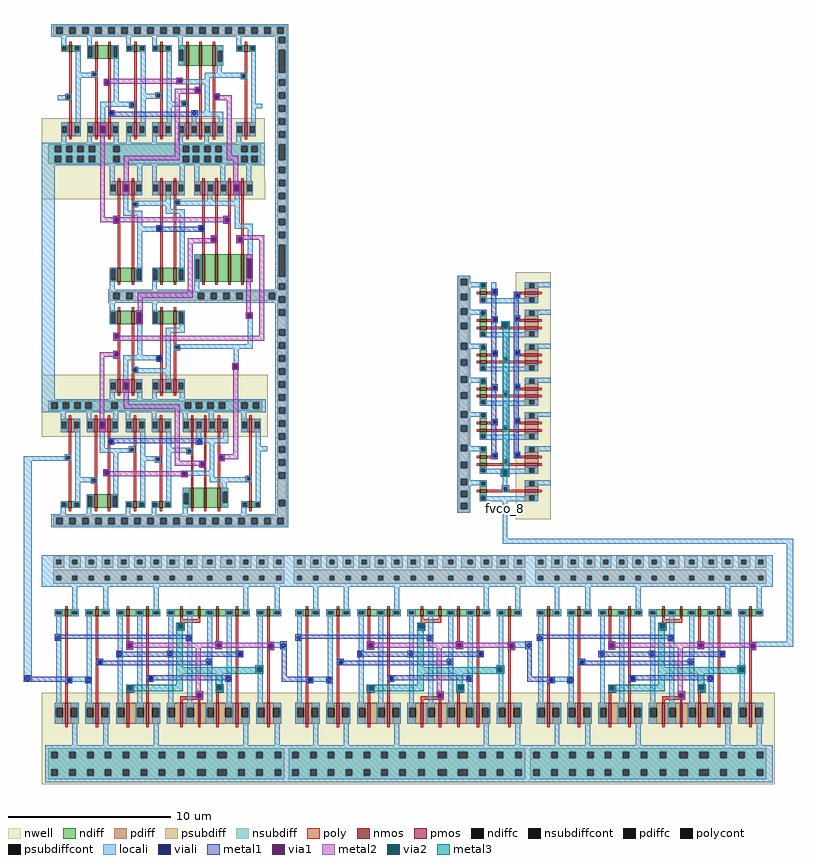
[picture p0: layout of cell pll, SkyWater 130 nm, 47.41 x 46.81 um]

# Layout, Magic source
magic
tech sky130A
<< psubdiff >>
rect 70 1382 140 1402
rect 70 1352 90 1382
rect 120 1352 140 1382
rect 70 1332 140 1352
rect 170 1382 240 1402
rect 170 1352 190 1382
rect 220 1352 240 1382
rect 170 1332 240 1352
rect 270 1382 340 1402
rect 270 1352 290 1382
rect 320 1352 340 1382
rect 270 1332 340 1352
rect 370 1382 440 1402
rect 370 1352 390 1382
rect 420 1352 440 1382
rect 370 1332 440 1352
rect 470 1382 540 1402
rect 470 1352 490 1382
rect 520 1352 540 1382
rect 470 1332 540 1352
rect 570 1382 640 1402
rect 570 1352 590 1382
rect 620 1352 640 1382
rect 570 1332 640 1352
rect 670 1382 740 1402
rect 670 1352 690 1382
rect 720 1352 740 1382
rect 670 1332 740 1352
rect 770 1382 848 1402
rect 770 1352 790 1382
rect 820 1352 848 1382
rect 770 1332 848 1352
rect 878 1382 958 1402
rect 878 1352 898 1382
rect 928 1352 958 1382
rect 878 1332 958 1352
rect 988 1382 1071 1402
rect 988 1352 1021 1382
rect 1051 1352 1071 1382
rect 988 1332 1071 1352
rect 1101 1382 1191 1402
rect 1101 1352 1141 1382
rect 1171 1352 1191 1382
rect 1101 1332 1191 1352
rect 1221 1382 1291 1402
rect 1221 1352 1241 1382
rect 1271 1352 1291 1382
rect 1221 1332 1291 1352
rect 1321 1382 1395 1402
rect 1321 1352 1341 1382
rect 1371 1352 1395 1382
rect 1321 1332 1395 1352
rect 1425 1382 1495 1402
rect 1425 1352 1445 1382
rect 1475 1352 1495 1382
rect 1425 1332 1495 1352
rect 1553 1382 1623 1402
rect 1553 1352 1573 1382
rect 1603 1352 1623 1382
rect 1553 1332 1623 1352
rect 1653 1382 1723 1402
rect 1653 1352 1673 1382
rect 1703 1352 1723 1382
rect 1653 1332 1723 1352
rect 1753 1382 1823 1402
rect 1753 1352 1773 1382
rect 1803 1352 1823 1382
rect 1753 1332 1823 1352
rect 1853 1382 1923 1402
rect 1853 1352 1873 1382
rect 1903 1352 1923 1382
rect 1853 1332 1923 1352
rect 1953 1382 2023 1402
rect 1953 1352 1973 1382
rect 2003 1352 2023 1382
rect 1953 1332 2023 1352
rect 2053 1382 2123 1402
rect 2053 1352 2073 1382
rect 2103 1352 2123 1382
rect 2053 1332 2123 1352
rect 2153 1382 2223 1402
rect 2153 1352 2173 1382
rect 2203 1352 2223 1382
rect 2153 1332 2223 1352
rect 2253 1382 2331 1402
rect 2253 1352 2273 1382
rect 2303 1352 2331 1382
rect 2253 1332 2331 1352
rect 2361 1382 2441 1402
rect 2361 1352 2381 1382
rect 2411 1352 2441 1382
rect 2361 1332 2441 1352
rect 2471 1382 2554 1402
rect 2471 1352 2504 1382
rect 2534 1352 2554 1382
rect 2471 1332 2554 1352
rect 2584 1382 2674 1402
rect 2584 1352 2624 1382
rect 2654 1352 2674 1382
rect 2584 1332 2674 1352
rect 2704 1382 2774 1402
rect 2704 1352 2724 1382
rect 2754 1352 2774 1382
rect 2704 1332 2774 1352
rect 2804 1382 2878 1402
rect 2804 1352 2824 1382
rect 2854 1352 2878 1382
rect 2804 1332 2878 1352
rect 2908 1382 2978 1402
rect 2908 1352 2928 1382
rect 2958 1352 2978 1382
rect 2908 1332 2978 1352
rect 3039 1382 3109 1402
rect 3039 1352 3059 1382
rect 3089 1352 3109 1382
rect 3039 1332 3109 1352
rect 3139 1382 3209 1402
rect 3139 1352 3159 1382
rect 3189 1352 3209 1382
rect 3139 1332 3209 1352
rect 3239 1382 3309 1402
rect 3239 1352 3259 1382
rect 3289 1352 3309 1382
rect 3239 1332 3309 1352
rect 3339 1382 3409 1402
rect 3339 1352 3359 1382
rect 3389 1352 3409 1382
rect 3339 1332 3409 1352
rect 3439 1382 3509 1402
rect 3439 1352 3459 1382
rect 3489 1352 3509 1382
rect 3439 1332 3509 1352
rect 3539 1382 3609 1402
rect 3539 1352 3559 1382
rect 3589 1352 3609 1382
rect 3539 1332 3609 1352
rect 3639 1382 3709 1402
rect 3639 1352 3659 1382
rect 3689 1352 3709 1382
rect 3639 1332 3709 1352
rect 3739 1382 3817 1402
rect 3739 1352 3759 1382
rect 3789 1352 3817 1382
rect 3739 1332 3817 1352
rect 3847 1382 3927 1402
rect 3847 1352 3867 1382
rect 3897 1352 3927 1382
rect 3847 1332 3927 1352
rect 3957 1382 4040 1402
rect 3957 1352 3990 1382
rect 4020 1352 4040 1382
rect 3957 1332 4040 1352
rect 4070 1382 4160 1402
rect 4070 1352 4110 1382
rect 4140 1352 4160 1382
rect 4070 1332 4160 1352
rect 4190 1382 4260 1402
rect 4190 1352 4210 1382
rect 4240 1352 4260 1382
rect 4190 1332 4260 1352
rect 4290 1382 4364 1402
rect 4290 1352 4310 1382
rect 4340 1352 4364 1382
rect 4290 1332 4364 1352
rect 4394 1382 4464 1402
rect 4394 1352 4414 1382
rect 4444 1352 4464 1382
rect 4394 1332 4464 1352
<< psubdiffcont >>
rect 90 1352 120 1382
rect 190 1352 220 1382
rect 290 1352 320 1382
rect 390 1352 420 1382
rect 490 1352 520 1382
rect 590 1352 620 1382
rect 690 1352 720 1382
rect 790 1352 820 1382
rect 898 1352 928 1382
rect 1021 1352 1051 1382
rect 1141 1352 1171 1382
rect 1241 1352 1271 1382
rect 1341 1352 1371 1382
rect 1445 1352 1475 1382
rect 1573 1352 1603 1382
rect 1673 1352 1703 1382
rect 1773 1352 1803 1382
rect 1873 1352 1903 1382
rect 1973 1352 2003 1382
rect 2073 1352 2103 1382
rect 2173 1352 2203 1382
rect 2273 1352 2303 1382
rect 2381 1352 2411 1382
rect 2504 1352 2534 1382
rect 2624 1352 2654 1382
rect 2724 1352 2754 1382
rect 2824 1352 2854 1382
rect 2928 1352 2958 1382
rect 3059 1352 3089 1382
rect 3159 1352 3189 1382
rect 3259 1352 3289 1382
rect 3359 1352 3389 1382
rect 3459 1352 3489 1382
rect 3559 1352 3589 1382
rect 3659 1352 3689 1382
rect 3759 1352 3789 1382
rect 3867 1352 3897 1382
rect 3990 1352 4020 1382
rect 4110 1352 4140 1382
rect 4210 1352 4240 1382
rect 4310 1352 4340 1382
rect 4414 1352 4444 1382
<< locali >>
rect -111 1990 100 2020
rect -111 660 -61 1990
rect 2839 1510 2869 1681
rect 2839 1480 4630 1510
rect 0 1382 4504 1410
rect 0 1352 90 1382
rect 120 1352 190 1382
rect 220 1352 290 1382
rect 320 1352 390 1382
rect 420 1352 490 1382
rect 520 1352 590 1382
rect 620 1352 690 1382
rect 720 1352 790 1382
rect 820 1352 898 1382
rect 928 1352 1021 1382
rect 1051 1352 1141 1382
rect 1171 1352 1241 1382
rect 1271 1352 1341 1382
rect 1371 1352 1445 1382
rect 1475 1352 1573 1382
rect 1603 1352 1673 1382
rect 1703 1352 1773 1382
rect 1803 1352 1873 1382
rect 1903 1352 1973 1382
rect 2003 1352 2073 1382
rect 2103 1352 2173 1382
rect 2203 1352 2273 1382
rect 2303 1352 2381 1382
rect 2411 1352 2504 1382
rect 2534 1352 2624 1382
rect 2654 1352 2724 1382
rect 2754 1352 2824 1382
rect 2854 1352 2928 1382
rect 2958 1352 3059 1382
rect 3089 1352 3159 1382
rect 3189 1352 3259 1382
rect 3289 1352 3359 1382
rect 3389 1352 3459 1382
rect 3489 1352 3559 1382
rect 3589 1352 3659 1382
rect 3689 1352 3759 1382
rect 3789 1352 3867 1382
rect 3897 1352 3990 1382
rect 4020 1352 4110 1382
rect 4140 1352 4210 1382
rect 4240 1352 4310 1382
rect 4340 1352 4414 1382
rect 4444 1352 4504 1382
rect 0 1284 4504 1352
rect 1470 872 1510 880
rect 2980 875 3020 880
rect 4590 875 4630 1480
rect 1433 865 1510 872
rect 1433 843 1480 865
rect 1500 843 1510 865
rect 1433 840 1510 843
rect 2916 865 3020 875
rect 2916 843 2990 865
rect 3010 843 3020 865
rect 4402 844 4630 875
rect 2916 840 3020 843
rect 1470 830 1510 840
rect 2980 830 3020 840
rect -111 640 -100 660
rect -74 640 -61 660
rect -111 630 -61 640
<< viali >>
rect 1480 843 1500 865
rect 2990 843 3010 865
rect -100 640 -74 660
<< metal1 >>
rect 1470 865 1510 880
rect 1470 843 1480 865
rect 1500 843 1510 865
rect 1470 830 1510 843
rect 2980 865 3020 880
rect 2980 843 2990 865
rect 3010 843 3020 865
rect 2980 830 3020 843
rect -111 660 -61 670
rect -111 640 -100 660
rect -74 640 23 660
rect -111 630 23 640
rect 1480 630 1510 830
rect 2990 630 3020 830
use freq_div_2pll  freq_div_2pll_0 ~/Desktop/vsd/magic_exp/ashmagicpll
transform -1 0 1480 0 -1 300
box -65 -1034 1480 300
use freq_div_2pll  freq_div_2pll_1
transform -1 0 2963 0 -1 300
box -65 -1034 1480 300
use pfdpll  pfdpll_0 ~/Desktop/vsd/magic_exp/ashmagicpll
transform 1 0 130 0 1 4011
box -130 -2441 1390 610
use freq_div_2pll  freq_div_2pll_2
transform -1 0 4449 0 -1 300
box -65 -1034 1480 300
use vcopll  vcopll_0 ~/Desktop/vsd/magic_exp/ashmagicpll
transform 0 1 3109 -1 0 3131
box -20 -549 1500 90
<< labels >>
rlabel space 2847 1691 2863 1702 1 fvco_8
<< end >>

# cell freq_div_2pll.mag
magic
tech sky130A
<< nwell >>
rect -65 -262 1480 300
<< nmos >>
rect 75 -776 90 -734
rect 269 -776 284 -734
rect 389 -776 404 -734
rect 502 -776 517 -734
rect 612 -776 627 -734
rect 820 -776 835 -734
rect 940 -776 955 -734
rect 1131 -776 1146 -734
rect 1320 -776 1335 -734
<< pmos >>
rect 75 -200 90 -70
rect 269 -200 284 -70
rect 389 -200 404 -70
rect 502 -200 517 -70
rect 612 -200 627 -70
rect 820 -200 835 -70
rect 940 -200 955 -70
rect 1131 -200 1146 -70
rect 1320 -200 1335 -70
<< ndiff >>
rect 5 -744 75 -734
rect 5 -764 15 -744
rect 45 -764 75 -744
rect 5 -776 75 -764
rect 90 -744 159 -734
rect 90 -764 119 -744
rect 149 -764 159 -744
rect 90 -776 159 -764
rect 199 -744 269 -734
rect 199 -764 209 -744
rect 239 -764 269 -744
rect 199 -776 269 -764
rect 284 -744 389 -734
rect 284 -764 309 -744
rect 339 -764 389 -744
rect 284 -776 389 -764
rect 404 -744 502 -734
rect 404 -764 429 -744
rect 459 -764 502 -744
rect 404 -776 502 -764
rect 517 -744 612 -734
rect 517 -764 552 -744
rect 582 -764 612 -744
rect 517 -776 612 -764
rect 627 -744 710 -734
rect 627 -764 670 -744
rect 700 -764 710 -744
rect 627 -776 710 -764
rect 750 -744 820 -734
rect 750 -764 760 -744
rect 790 -764 820 -744
rect 750 -776 820 -764
rect 835 -744 940 -734
rect 835 -764 860 -744
rect 890 -764 940 -744
rect 835 -776 940 -764
rect 955 -744 1020 -734
rect 955 -764 980 -744
rect 1010 -764 1020 -744
rect 955 -776 1020 -764
rect 1061 -744 1131 -734
rect 1061 -764 1071 -744
rect 1101 -764 1131 -744
rect 1061 -776 1131 -764
rect 1146 -744 1211 -734
rect 1146 -764 1171 -744
rect 1201 -764 1211 -744
rect 1146 -776 1211 -764
rect 1250 -744 1320 -734
rect 1250 -764 1260 -744
rect 1290 -764 1320 -744
rect 1250 -776 1320 -764
rect 1335 -744 1400 -734
rect 1335 -764 1360 -744
rect 1390 -764 1400 -744
rect 1335 -776 1400 -764
<< pdiff >>
rect 5 -110 75 -70
rect 5 -170 15 -110
rect 55 -170 75 -110
rect 5 -200 75 -170
rect 90 -110 159 -70
rect 90 -170 109 -110
rect 149 -170 159 -110
rect 90 -200 159 -170
rect 199 -110 269 -70
rect 199 -170 209 -110
rect 249 -170 269 -110
rect 199 -200 269 -170
rect 284 -110 389 -70
rect 284 -170 309 -110
rect 349 -170 389 -110
rect 284 -200 389 -170
rect 404 -110 502 -70
rect 404 -170 419 -110
rect 459 -170 502 -110
rect 404 -200 502 -170
rect 517 -110 612 -70
rect 517 -170 542 -110
rect 582 -170 612 -110
rect 517 -200 612 -170
rect 627 -110 710 -70
rect 627 -170 660 -110
rect 700 -170 710 -110
rect 627 -200 710 -170
rect 750 -110 820 -70
rect 750 -170 760 -110
rect 800 -170 820 -110
rect 750 -200 820 -170
rect 835 -110 940 -70
rect 835 -170 850 -110
rect 890 -170 940 -110
rect 835 -200 940 -170
rect 955 -110 1020 -70
rect 955 -170 970 -110
rect 1010 -170 1020 -110
rect 955 -200 1020 -170
rect 1061 -110 1131 -70
rect 1061 -170 1071 -110
rect 1111 -170 1131 -110
rect 1061 -200 1131 -170
rect 1146 -110 1211 -70
rect 1146 -170 1161 -110
rect 1201 -170 1211 -110
rect 1146 -200 1211 -170
rect 1250 -110 1320 -70
rect 1250 -170 1260 -110
rect 1300 -170 1320 -110
rect 1250 -200 1320 -170
rect 1335 -110 1400 -70
rect 1335 -170 1350 -110
rect 1390 -170 1400 -110
rect 1335 -200 1400 -170
<< ndiffc >>
rect 15 -764 45 -744
rect 119 -764 149 -744
rect 209 -764 239 -744
rect 309 -764 339 -744
rect 429 -764 459 -744
rect 552 -764 582 -744
rect 670 -764 700 -744
rect 760 -764 790 -744
rect 860 -764 890 -744
rect 980 -764 1010 -744
rect 1071 -764 1101 -744
rect 1171 -764 1201 -744
rect 1260 -764 1290 -744
rect 1360 -764 1390 -744
<< pdiffc >>
rect 15 -170 55 -110
rect 109 -170 149 -110
rect 209 -170 249 -110
rect 309 -170 349 -110
rect 419 -170 459 -110
rect 542 -170 582 -110
rect 660 -170 700 -110
rect 760 -170 800 -110
rect 850 -170 890 -110
rect 970 -170 1010 -110
rect 1071 -170 1111 -110
rect 1161 -170 1201 -110
rect 1260 -170 1300 -110
rect 1350 -170 1390 -110
<< psubdiff >>
rect -15 -954 1410 -934
rect -15 -984 5 -954
rect 35 -984 109 -954
rect 139 -984 209 -954
rect 239 -984 309 -954
rect 339 -984 429 -954
rect 459 -984 552 -954
rect 582 -984 660 -954
rect 690 -984 760 -954
rect 790 -984 860 -954
rect 890 -984 960 -954
rect 990 -984 1060 -954
rect 1090 -984 1160 -954
rect 1190 -984 1260 -954
rect 1290 -984 1360 -954
rect 1390 -984 1410 -954
rect -15 -1020 1410 -984
<< nsubdiff >>
rect -15 250 1440 270
rect -15 210 5 250
rect 45 210 119 250
rect 159 210 229 250
rect 269 210 339 250
rect 399 210 469 250
rect 522 210 602 250
rect 642 210 720 250
rect 760 210 830 250
rect 870 210 940 250
rect 980 210 1050 250
rect 1090 210 1160 250
rect 1200 210 1270 250
rect 1310 210 1380 250
rect 1420 210 1440 250
rect -15 140 1440 210
rect -15 100 5 140
rect 45 100 119 140
rect 159 100 229 140
rect 269 100 339 140
rect 399 100 469 140
rect 522 100 602 140
rect 642 100 720 140
rect 760 100 830 140
rect 870 100 940 140
rect 980 100 1050 140
rect 1090 100 1160 140
rect 1200 100 1270 140
rect 1310 100 1380 140
rect 1420 100 1440 140
rect -15 80 1440 100
<< psubdiffcont >>
rect 5 -984 35 -954
rect 109 -984 139 -954
rect 209 -984 239 -954
rect 309 -984 339 -954
rect 429 -984 459 -954
rect 552 -984 582 -954
rect 660 -984 690 -954
rect 760 -984 790 -954
rect 860 -984 890 -954
rect 960 -984 990 -954
rect 1060 -984 1090 -954
rect 1160 -984 1190 -954
rect 1260 -984 1290 -954
rect 1360 -984 1390 -954
<< nsubdiffcont >>
rect 5 210 45 250
rect 119 210 159 250
rect 229 210 269 250
rect 339 210 399 250
rect 469 210 522 250
rect 602 210 642 250
rect 720 210 760 250
rect 830 210 870 250
rect 940 210 980 250
rect 1050 210 1090 250
rect 1160 210 1200 250
rect 1270 210 1310 250
rect 1380 210 1420 250
rect 5 100 45 140
rect 119 100 159 140
rect 229 100 269 140
rect 339 100 399 140
rect 469 100 522 140
rect 602 100 642 140
rect 720 100 760 140
rect 830 100 870 140
rect 940 100 980 140
rect 1050 100 1090 140
rect 1160 100 1200 140
rect 1270 100 1310 140
rect 1380 100 1420 140
<< poly >>
rect 75 -70 90 -50
rect 269 -70 284 -50
rect 389 -70 404 -50
rect 502 -70 517 -50
rect 612 -70 627 -50
rect 820 -70 835 -50
rect 940 -70 955 -50
rect 1131 -70 1146 -50
rect 1320 -70 1335 -50
rect 75 -525 90 -200
rect 269 -480 284 -200
rect 389 -263 404 -200
rect 502 -220 517 -200
rect 612 -220 627 -200
rect 486 -232 627 -220
rect 486 -258 496 -232
rect 522 -240 627 -232
rect 522 -258 531 -240
rect 359 -279 409 -263
rect 486 -270 531 -258
rect 359 -307 370 -279
rect 398 -307 409 -279
rect 359 -313 409 -307
rect 820 -330 835 -200
rect 940 -262 955 -200
rect 910 -278 960 -262
rect 910 -306 921 -278
rect 949 -306 960 -278
rect 910 -312 960 -306
rect 790 -340 835 -330
rect 790 -360 800 -340
rect 820 -360 835 -340
rect 790 -370 835 -360
rect 239 -490 284 -480
rect 239 -510 249 -490
rect 269 -510 284 -490
rect 239 -520 284 -510
rect 47 -537 92 -525
rect 47 -563 57 -537
rect 83 -563 92 -537
rect 47 -575 92 -563
rect 75 -734 90 -575
rect 269 -734 284 -520
rect 367 -541 412 -529
rect 367 -567 377 -541
rect 403 -567 412 -541
rect 367 -579 412 -567
rect 389 -734 404 -579
rect 599 -660 650 -644
rect 599 -688 611 -660
rect 639 -688 650 -660
rect 599 -694 650 -688
rect 502 -714 627 -694
rect 502 -734 517 -714
rect 612 -734 627 -714
rect 820 -734 835 -370
rect 1131 -430 1146 -200
rect 1320 -320 1335 -200
rect 1290 -330 1335 -320
rect 1290 -350 1300 -330
rect 1320 -350 1335 -330
rect 1290 -360 1335 -350
rect 1101 -440 1146 -430
rect 1101 -460 1111 -440
rect 1131 -460 1146 -440
rect 1101 -470 1146 -460
rect 915 -540 960 -528
rect 915 -566 925 -540
rect 951 -566 960 -540
rect 915 -578 960 -566
rect 940 -734 955 -578
rect 1131 -734 1146 -470
rect 1320 -734 1335 -360
rect 75 -794 90 -776
rect 269 -794 284 -776
rect 389 -794 404 -776
rect 502 -794 517 -776
rect 612 -794 627 -776
rect 820 -794 835 -776
rect 940 -794 955 -776
rect 1131 -794 1146 -776
rect 1320 -794 1335 -776
<< polycont >>
rect 496 -258 522 -232
rect 370 -307 398 -279
rect 921 -306 949 -278
rect 800 -360 820 -340
rect 249 -510 269 -490
rect 57 -563 83 -537
rect 377 -567 403 -541
rect 611 -688 639 -660
rect 1300 -350 1320 -330
rect 1111 -460 1131 -440
rect 925 -566 951 -540
<< locali >>
rect -55 250 1458 290
rect -55 210 5 250
rect 45 210 119 250
rect 159 210 229 250
rect 269 210 339 250
rect 399 210 469 250
rect 522 210 602 250
rect 642 210 720 250
rect 760 210 830 250
rect 870 210 940 250
rect 980 210 1050 250
rect 1090 210 1160 250
rect 1200 210 1270 250
rect 1310 210 1380 250
rect 1420 210 1458 250
rect -55 140 1458 210
rect -55 100 5 140
rect 45 100 119 140
rect 159 100 229 140
rect 269 100 339 140
rect 399 100 469 140
rect 522 100 602 140
rect 642 100 720 140
rect 760 100 830 140
rect 870 100 940 140
rect 980 100 1050 140
rect 1090 100 1160 140
rect 1200 100 1270 140
rect 1310 100 1380 140
rect 1420 100 1458 140
rect -55 60 1458 100
rect 15 -70 45 60
rect 209 -70 239 60
rect 760 -70 790 60
rect 1071 -70 1101 60
rect 1260 -70 1290 60
rect 5 -110 55 -70
rect 5 -170 15 -110
rect 5 -200 55 -170
rect 109 -110 159 -70
rect 149 -170 159 -110
rect 109 -200 159 -170
rect 199 -110 249 -70
rect 199 -170 209 -110
rect 199 -200 249 -170
rect 299 -110 349 -70
rect 299 -170 309 -110
rect 299 -200 349 -170
rect 419 -110 469 -70
rect 459 -170 469 -110
rect 419 -200 469 -170
rect 542 -110 592 -70
rect 582 -170 592 -110
rect 542 -200 592 -170
rect 660 -110 710 -70
rect 700 -170 710 -110
rect 660 -200 710 -170
rect 750 -110 800 -70
rect 750 -170 760 -110
rect 750 -200 800 -170
rect 850 -110 900 -70
rect 890 -170 900 -110
rect 850 -200 900 -170
rect 970 -110 1020 -70
rect 1010 -170 1020 -110
rect 970 -200 1020 -170
rect 1061 -110 1111 -70
rect 1061 -170 1071 -110
rect 1061 -200 1111 -170
rect 1161 -110 1211 -70
rect 1201 -170 1211 -110
rect 1161 -200 1211 -170
rect 1250 -110 1300 -70
rect 1250 -170 1260 -110
rect 1250 -200 1300 -170
rect 1350 -110 1400 -70
rect 1390 -170 1400 -110
rect 1350 -200 1400 -170
rect 119 -380 149 -200
rect 309 -330 339 -200
rect 359 -279 409 -263
rect 359 -307 370 -279
rect 398 -307 409 -279
rect 359 -313 409 -307
rect 309 -340 349 -330
rect 309 -360 319 -340
rect 339 -360 349 -340
rect 309 -370 349 -360
rect 114 -391 164 -380
rect 114 -419 125 -391
rect 153 -419 164 -391
rect 114 -430 164 -419
rect 47 -537 92 -525
rect 47 -547 57 -537
rect 16 -563 57 -547
rect 83 -563 92 -537
rect 16 -572 92 -563
rect 47 -575 92 -572
rect 119 -734 149 -430
rect 239 -490 284 -480
rect 239 -510 249 -490
rect 269 -510 284 -490
rect 239 -520 284 -510
rect 309 -734 339 -370
rect 429 -430 459 -200
rect 486 -232 531 -220
rect 486 -258 496 -232
rect 522 -258 531 -232
rect 486 -270 531 -258
rect 429 -440 469 -430
rect 429 -460 439 -440
rect 459 -460 469 -440
rect 429 -470 469 -460
rect 367 -541 412 -529
rect 367 -567 377 -541
rect 403 -567 412 -541
rect 367 -579 412 -567
rect 429 -734 459 -470
rect 552 -580 582 -200
rect 670 -480 700 -200
rect 790 -340 835 -330
rect 790 -360 800 -340
rect 820 -360 835 -340
rect 790 -370 835 -360
rect 670 -490 710 -480
rect 670 -510 680 -490
rect 700 -510 710 -490
rect 670 -520 710 -510
rect 552 -590 592 -580
rect 552 -610 562 -590
rect 582 -610 592 -590
rect 552 -620 592 -610
rect 552 -734 582 -620
rect 599 -660 650 -644
rect 599 -688 611 -660
rect 639 -688 650 -660
rect 599 -694 650 -688
rect 670 -734 700 -520
rect 860 -734 890 -200
rect 910 -278 960 -262
rect 910 -306 921 -278
rect 949 -306 960 -278
rect 910 -312 960 -306
rect 980 -480 1010 -200
rect 1171 -320 1201 -200
rect 1171 -330 1211 -320
rect 1290 -330 1335 -320
rect 1171 -350 1181 -330
rect 1201 -350 1300 -330
rect 1320 -350 1335 -330
rect 1171 -360 1335 -350
rect 1101 -440 1146 -430
rect 1101 -460 1111 -440
rect 1131 -460 1146 -440
rect 1101 -470 1146 -460
rect 980 -490 1020 -480
rect 980 -510 990 -490
rect 1010 -510 1020 -490
rect 980 -520 1020 -510
rect 915 -540 960 -528
rect 915 -566 925 -540
rect 951 -566 960 -540
rect 915 -578 960 -566
rect 980 -734 1010 -520
rect 1171 -734 1201 -360
rect 1360 -581 1390 -200
rect 1360 -591 1400 -581
rect 1360 -611 1370 -591
rect 1390 -611 1400 -591
rect 1360 -621 1400 -611
rect 1360 -734 1390 -621
rect 5 -744 55 -734
rect 5 -764 15 -744
rect 45 -764 55 -744
rect 5 -776 55 -764
rect 109 -744 159 -734
rect 109 -764 119 -744
rect 149 -764 159 -744
rect 109 -776 159 -764
rect 199 -744 249 -734
rect 199 -764 209 -744
rect 239 -764 249 -744
rect 199 -776 249 -764
rect 299 -744 349 -734
rect 299 -764 309 -744
rect 339 -764 349 -744
rect 299 -776 349 -764
rect 419 -744 469 -734
rect 419 -764 429 -744
rect 459 -764 469 -744
rect 419 -776 469 -764
rect 542 -744 592 -734
rect 542 -764 552 -744
rect 582 -764 592 -744
rect 542 -776 592 -764
rect 660 -744 710 -734
rect 660 -764 670 -744
rect 700 -764 710 -744
rect 660 -776 710 -764
rect 750 -744 800 -734
rect 750 -764 760 -744
rect 790 -764 800 -744
rect 750 -776 800 -764
rect 850 -744 900 -734
rect 850 -764 860 -744
rect 890 -764 900 -744
rect 850 -776 900 -764
rect 970 -744 1020 -734
rect 970 -764 980 -744
rect 1010 -764 1020 -744
rect 970 -776 1020 -764
rect 1061 -744 1111 -734
rect 1061 -764 1071 -744
rect 1101 -764 1111 -744
rect 1061 -776 1111 -764
rect 1161 -744 1211 -734
rect 1161 -764 1171 -744
rect 1201 -764 1211 -744
rect 1161 -776 1211 -764
rect 1250 -744 1300 -734
rect 1250 -764 1260 -744
rect 1290 -764 1300 -744
rect 1250 -776 1300 -764
rect 1350 -744 1400 -734
rect 1350 -764 1360 -744
rect 1390 -764 1400 -744
rect 1350 -776 1400 -764
rect 15 -914 45 -776
rect 209 -914 239 -776
rect 760 -914 790 -776
rect 1071 -914 1101 -776
rect 1260 -914 1290 -776
rect -55 -954 1480 -914
rect -55 -984 5 -954
rect 35 -984 109 -954
rect 139 -984 209 -954
rect 239 -984 309 -954
rect 339 -984 429 -954
rect 459 -984 552 -954
rect 582 -984 660 -954
rect 690 -984 760 -954
rect 790 -984 860 -954
rect 890 -984 960 -954
rect 990 -984 1060 -954
rect 1090 -984 1160 -954
rect 1190 -984 1260 -954
rect 1290 -984 1360 -954
rect 1390 -984 1480 -954
rect -55 -1040 1480 -984
<< viali >>
rect 370 -307 398 -279
rect 319 -360 339 -340
rect 125 -419 153 -391
rect 57 -563 83 -537
rect 249 -510 269 -490
rect 496 -258 522 -232
rect 439 -460 459 -440
rect 377 -567 403 -541
rect 800 -360 820 -340
rect 680 -510 700 -490
rect 562 -610 582 -590
rect 611 -688 639 -660
rect 921 -306 949 -278
rect 1181 -350 1201 -330
rect 1300 -350 1320 -330
rect 1111 -460 1131 -440
rect 990 -510 1010 -490
rect 925 -566 951 -540
rect 1370 -611 1390 -591
<< metal1 >>
rect 486 -232 531 -220
rect 486 -258 496 -232
rect 522 -258 531 -232
rect 359 -279 409 -263
rect 486 -270 531 -258
rect 359 -307 370 -279
rect 398 -307 409 -279
rect 359 -313 409 -307
rect 910 -278 960 -262
rect 910 -306 921 -278
rect 949 -306 960 -278
rect 910 -312 960 -306
rect 1171 -330 1211 -320
rect 309 -340 349 -330
rect 790 -340 835 -330
rect 309 -360 319 -340
rect 339 -360 800 -340
rect 820 -360 835 -340
rect 1171 -350 1181 -330
rect 1201 -350 1211 -330
rect 1171 -360 1211 -350
rect 1290 -330 1335 -320
rect 1290 -350 1300 -330
rect 1320 -350 1458 -330
rect 1290 -360 1458 -350
rect 309 -370 835 -360
rect 114 -391 164 -380
rect 114 -419 125 -391
rect 153 -419 164 -391
rect 114 -430 164 -419
rect 429 -440 1146 -430
rect 429 -460 439 -440
rect 459 -460 1111 -440
rect 1131 -460 1146 -440
rect 429 -470 469 -460
rect 1101 -470 1146 -460
rect 239 -484 284 -480
rect 670 -484 710 -480
rect 980 -484 1020 -480
rect 239 -490 1020 -484
rect 239 -510 249 -490
rect 269 -510 680 -490
rect 700 -510 990 -490
rect 1010 -510 1020 -490
rect 239 -514 1020 -510
rect 239 -520 284 -514
rect 670 -520 710 -514
rect 980 -520 1020 -514
rect 47 -537 92 -525
rect 47 -563 57 -537
rect 83 -563 92 -537
rect 47 -575 92 -563
rect 367 -541 412 -529
rect 367 -567 377 -541
rect 403 -567 412 -541
rect 367 -579 412 -567
rect 915 -540 960 -528
rect 915 -566 925 -540
rect 951 -566 960 -540
rect 915 -578 960 -566
rect 552 -590 592 -580
rect 552 -610 562 -590
rect 582 -595 592 -590
rect 1360 -591 1400 -581
rect 1360 -595 1370 -591
rect 582 -610 1370 -595
rect 552 -611 1370 -610
rect 1390 -611 1400 -591
rect 552 -620 1400 -611
rect 1360 -621 1400 -620
rect 599 -660 650 -644
rect 599 -688 611 -660
rect 639 -688 650 -660
rect 599 -694 650 -688
<< via1 >>
rect 496 -258 522 -232
rect 370 -307 398 -279
rect 921 -306 949 -278
rect 125 -419 153 -391
rect 57 -563 83 -537
rect 377 -567 403 -541
rect 925 -566 951 -540
rect 611 -688 639 -660
<< metal2 >>
rect 486 -232 531 -220
rect 486 -258 496 -232
rect 522 -258 531 -232
rect 359 -279 409 -263
rect 486 -270 531 -258
rect 359 -307 370 -279
rect 398 -307 409 -279
rect 359 -313 409 -307
rect 114 -391 164 -380
rect 114 -419 125 -391
rect 153 -419 164 -391
rect 114 -430 164 -419
rect 47 -537 92 -525
rect 47 -563 57 -537
rect 83 -540 92 -537
rect 367 -540 412 -529
rect 500 -540 530 -270
rect 910 -278 960 -262
rect 910 -306 921 -278
rect 949 -306 960 -278
rect 910 -312 960 -306
rect 915 -540 960 -528
rect 83 -541 925 -540
rect 83 -563 377 -541
rect 47 -567 377 -563
rect 403 -566 925 -541
rect 951 -566 960 -540
rect 403 -567 960 -566
rect 47 -570 960 -567
rect 47 -575 92 -570
rect 367 -579 412 -570
rect 915 -578 960 -570
rect 599 -660 650 -644
rect 599 -688 611 -660
rect 639 -688 650 -660
rect 599 -694 650 -688
<< via2 >>
rect 370 -307 398 -279
rect 125 -419 153 -391
rect 921 -306 949 -278
rect 611 -688 639 -660
<< metal3 >>
rect 359 -279 409 -263
rect 910 -270 960 -262
rect 359 -307 370 -279
rect 398 -307 409 -279
rect 359 -313 409 -307
rect 369 -380 409 -313
rect 610 -278 960 -270
rect 610 -306 921 -278
rect 949 -306 960 -278
rect 610 -310 960 -306
rect 610 -380 650 -310
rect 910 -312 960 -310
rect 114 -391 650 -380
rect 114 -419 125 -391
rect 153 -419 650 -391
rect 114 -420 650 -419
rect 114 -430 164 -420
rect 610 -644 650 -420
rect 599 -660 650 -644
rect 599 -688 611 -660
rect 639 -688 650 -660
rect 599 -694 650 -688
<< labels >>
rlabel locali 709 -1027 757 -1008 1 gnd!
rlabel locali 673 164 693 176 1 vdd
<< end >>

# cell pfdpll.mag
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
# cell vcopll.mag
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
